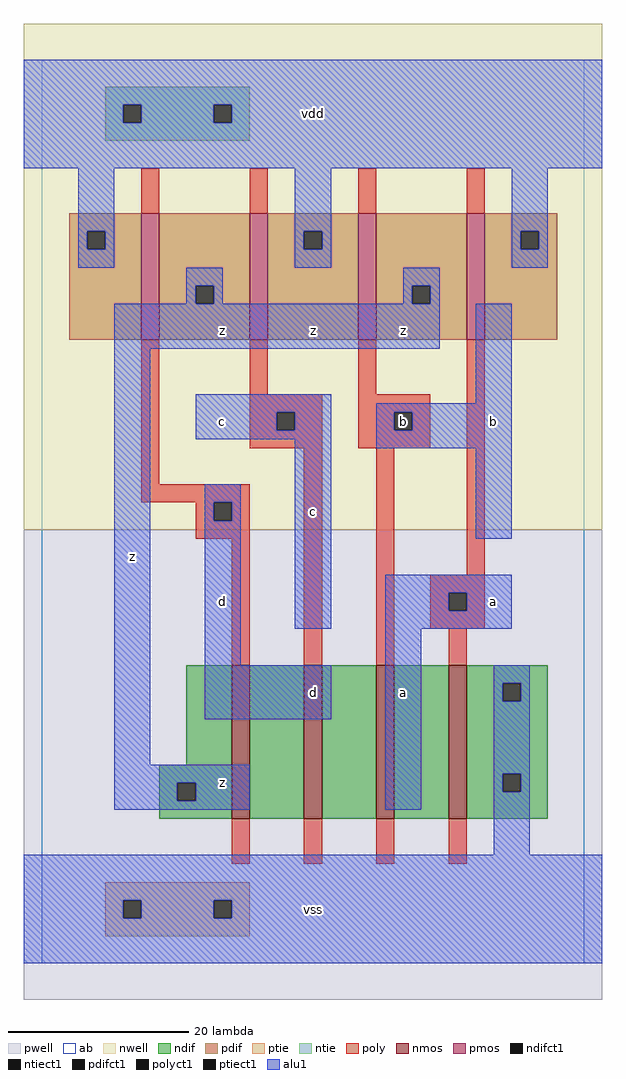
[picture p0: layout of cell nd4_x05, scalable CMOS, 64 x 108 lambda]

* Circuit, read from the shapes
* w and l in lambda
.subckt nd4_x05 a b c d vdd vss z
M1 n1 d z vss nfet w=17 l=2
M2 n2 c n1 vss nfet w=17 l=2
M3 n3 b n2 vss nfet w=17 l=2
M4 vss a n3 vss nfet w=17 l=2
M5 z d vdd vdd pfet w=14 l=2
M6 vdd c z vdd pfet w=14 l=2
M7 z b vdd vdd pfet w=14 l=2
M8 vdd a z vdd pfet w=14 l=2
.ends

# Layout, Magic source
magic
tech scmos
<< ab >>
rect 0 0 60 100
<< nwell >>
rect -2 48 62 104
<< pwell >>
rect -2 -4 62 48
<< poly >>
rect 11 83 13 88
rect 23 83 25 88
rect 35 83 37 88
rect 47 83 49 88
rect 11 53 13 69
rect 23 63 25 69
rect 35 63 37 69
rect 23 61 31 63
rect 23 59 26 61
rect 28 59 31 61
rect 23 57 31 59
rect 35 61 43 63
rect 35 59 39 61
rect 41 59 43 61
rect 35 57 43 59
rect 11 51 23 53
rect 17 49 19 51
rect 21 49 23 51
rect 17 47 23 49
rect 21 33 23 47
rect 29 33 31 57
rect 37 33 39 57
rect 47 43 49 69
rect 43 41 49 43
rect 43 39 45 41
rect 47 39 49 41
rect 43 37 49 39
rect 45 33 47 37
rect 21 11 23 16
rect 29 11 31 16
rect 37 11 39 16
rect 45 11 47 16
<< ndif >>
rect 16 22 21 33
rect 13 20 21 22
rect 13 18 15 20
rect 17 18 21 20
rect 13 16 21 18
rect 23 16 29 33
rect 31 16 37 33
rect 39 16 45 33
rect 47 31 56 33
rect 47 29 51 31
rect 53 29 56 31
rect 47 21 56 29
rect 47 19 51 21
rect 53 19 56 21
rect 47 16 56 19
<< pdif >>
rect 3 81 11 83
rect 3 79 5 81
rect 7 79 11 81
rect 3 69 11 79
rect 13 75 23 83
rect 13 73 17 75
rect 19 73 23 75
rect 13 69 23 73
rect 25 81 35 83
rect 25 79 29 81
rect 31 79 35 81
rect 25 69 35 79
rect 37 75 47 83
rect 37 73 41 75
rect 43 73 47 75
rect 37 69 47 73
rect 49 81 57 83
rect 49 79 53 81
rect 55 79 57 81
rect 49 69 57 79
<< alu1 >>
rect -2 95 62 100
rect -2 93 9 95
rect 11 93 19 95
rect 21 93 62 95
rect -2 88 62 93
rect 4 81 8 88
rect 4 79 5 81
rect 7 79 8 81
rect 4 77 8 79
rect 28 81 32 88
rect 28 79 29 81
rect 31 79 32 81
rect 28 77 32 79
rect 52 81 56 88
rect 52 79 53 81
rect 55 79 56 81
rect 52 77 56 79
rect 16 75 20 77
rect 16 73 17 75
rect 19 73 20 75
rect 40 75 44 77
rect 40 73 41 75
rect 43 73 44 75
rect 8 68 44 73
rect 8 22 12 68
rect 17 61 32 63
rect 48 62 52 73
rect 17 59 26 61
rect 28 59 32 61
rect 17 58 32 59
rect 18 51 22 53
rect 18 49 19 51
rect 21 49 22 51
rect 18 33 22 49
rect 28 37 32 58
rect 37 61 52 62
rect 37 59 39 61
rect 41 59 52 61
rect 37 57 52 59
rect 48 47 52 57
rect 38 41 52 43
rect 38 39 45 41
rect 47 39 52 41
rect 38 37 52 39
rect 18 27 32 33
rect 8 20 23 22
rect 8 18 15 20
rect 17 18 23 20
rect 8 17 23 18
rect 38 17 42 37
rect 50 31 54 33
rect 50 29 51 31
rect 53 29 54 31
rect 50 21 54 29
rect 50 19 51 21
rect 53 19 54 21
rect 50 12 54 19
rect -2 7 62 12
rect -2 5 9 7
rect 11 5 19 7
rect 21 5 62 7
rect -2 0 62 5
<< ptie >>
rect 7 7 23 9
rect 7 5 9 7
rect 11 5 19 7
rect 21 5 23 7
rect 7 3 23 5
<< ntie >>
rect 7 95 23 97
rect 7 93 9 95
rect 11 93 19 95
rect 21 93 23 95
rect 7 91 23 93
<< nmos >>
rect 21 16 23 33
rect 29 16 31 33
rect 37 16 39 33
rect 45 16 47 33
<< pmos >>
rect 11 69 13 83
rect 23 69 25 83
rect 35 69 37 83
rect 47 69 49 83
<< polyct1 >>
rect 26 59 28 61
rect 39 59 41 61
rect 19 49 21 51
rect 45 39 47 41
<< ndifct1 >>
rect 15 18 17 20
rect 51 29 53 31
rect 51 19 53 21
<< ntiect1 >>
rect 9 93 11 95
rect 19 93 21 95
<< ptiect1 >>
rect 9 5 11 7
rect 19 5 21 7
<< pdifct1 >>
rect 5 79 7 81
rect 17 73 19 75
rect 29 79 31 81
rect 41 73 43 75
rect 53 79 55 81
<< labels >>
rlabel alu1 20 20 20 20 6 z
rlabel alu1 20 40 20 40 6 d
rlabel alu1 10 45 10 45 6 z
rlabel alu1 20 60 20 60 6 c
rlabel alu1 20 70 20 70 6 z
rlabel alu1 30 6 30 6 6 vss
rlabel alu1 30 30 30 30 6 d
rlabel alu1 30 50 30 50 6 c
rlabel alu1 30 70 30 70 6 z
rlabel alu1 30 94 30 94 6 vdd
rlabel alu1 40 30 40 30 6 a
rlabel polyct1 40 60 40 60 6 b
rlabel alu1 40 70 40 70 6 z
rlabel alu1 50 40 50 40 6 a
rlabel alu1 50 60 50 60 6 b
<< end >>
